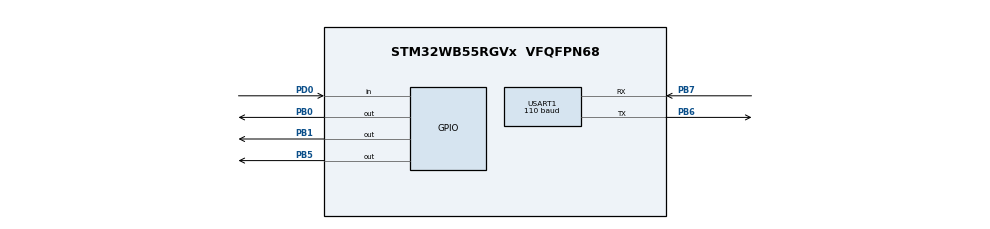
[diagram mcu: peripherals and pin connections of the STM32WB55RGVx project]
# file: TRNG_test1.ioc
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Mcu.Family=STM32WB
Mcu.Name=STM32WB55RGVx
Mcu.Package=VFQFPN68
NVIC.PriorityGroup=NVIC_PRIORITYGROUP_4
PB0.Signal=GPIO_Output
PB1.Signal=GPIO_Output
PB5.Signal=GPIO_Output
PB6.Mode=Asynchronous
PB6.Signal=USART1_TX
PB7.Mode=Asynchronous
PB7.Signal=USART1_RX
PD0.Signal=GPIO_Input
ProjectManager.HeapSize=0x200
ProjectManager.StackSize=0x400
ProjectManager.TargetToolchain=STM32CubeIDE
RCC.APB3Freq_Value=16000000
RCC.HSE_VALUE=8000000
RCC.HSI48_VALUE=48000000
RCC.HSI_VALUE=16000000
RCC.LSE_VALUE=32768
RCC.VCOOutputFreq_Value=32000000
USART1.BaudRate=110
USART1.VirtualMode-Asynchronous=VM_ASYNC
VP_MEMORYMAP_VS_MEMORYMAP.Mode=CurAppReg
VP_RNG_VS_RNG.Mode=RNG_Activate
board=custom

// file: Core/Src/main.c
/* USER CODE BEGIN Header */
/**
  ******************************************************************************
  * @file           : main.c
  * @brief          : Main program body
  *
  * Bu program STM32WB55RG üzerinde çalışır.
  *
  ******************************************************************************
  */
/* USER CODE END Header */

#include "main.h"

/* USER CODE BEGIN Includes */
#include "stm32wbxx_hal.h"
#include <stdio.h>
#include <stdint.h>
#include <stdbool.h>
#include <string.h>   // <-- EKLENDİ: strlen vb. için
/* USER CODE END Includes */

/* USER CODE BEGIN PD */
#define LED1_PIN        GPIO_PIN_5    /* PB5 */
#define LED2_PIN        GPIO_PIN_0    /* PB0 */
#define LED3_PIN        GPIO_PIN_1    /* PB1 */
#define LED_GPIO_PORT   GPIOB

#define BUTTON_PIN      GPIO_PIN_0    /* PD0 */
#define BUTTON_PORT     GPIOD
#define BUTTON_DEBOUNCE_MS 50U

#define MODE0_BLINK_MS      1000U
#define RNG_LED_ON_MS       50U
#define RNG_LED_OFF_MS      50U
#define RNG_POST_WAIT_MS    1000U
#define LED3_ON_MS          500U
#define LED3_TOGGLE_MS      200U
/* USER CODE END PD */

/* USER CODE BEGIN ET */
typedef enum
{
    M2_IDLE = 0,
    M2_LED3_ON,
    M2_BLINKING,
    M2_LED1_ON,
    M2_WAIT
} mode2_state_t;
/* USER CODE END ET */

RNG_HandleTypeDef hrng;
UART_HandleTypeDef huart1;

/* USER CODE BEGIN PV */
DMA_HandleTypeDef hdma_usart1_tx; // <-- EKLENDİ: DMA handle

volatile uint8_t mode = 0;           /* 0 = Mode0, 1 = Mode1 */
volatile uint8_t debugToggle = 0;
volatile int8_t debugForceMode = -1;

static uint8_t lastButtonReading = 1;
static uint8_t lastButtonStable = 1;
static uint32_t lastButtonChangeTime = 0;

static uint32_t m0_lastToggle = 0;
static uint8_t m0_ledState = 0;

static mode2_state_t m2_state = M2_IDLE;
static uint32_t m2_nextAction = 0;
static uint32_t m2_blinksRemain = 0;
static uint8_t m2_ledOn = 0;

static uint32_t m2_led3EndTime = 0; // LED3 kontrolü için
static uint32_t m2_modeChangeEndTime = 0; // mod değişimi sonrası LED3

static char uartMsg[128];
/* USER CODE END PV */

void SystemClock_Config(void);
static void MX_GPIO_Init(void);
static void MX_RNG_Init(void);
static void MX_USART1_UART_Init(void);

/* USER CODE BEGIN PFP */
static void MX_DMA_Init(void); // <-- EKLENDİ: prototype
static inline uint32_t now_ms(void);
static bool button_pressed_event(void);
static void mode2_reset_state(void);
static void toggle_mode(void);
static void force_set_mode(uint8_t m);
/* USER CODE END PFP */

/* USER CODE BEGIN 0 */
static inline uint32_t now_ms(void)
{
    return HAL_GetTick();
}

static bool button_pressed_event(void)
{
    uint32_t t = now_ms();
    uint8_t reading = (uint8_t)HAL_GPIO_ReadPin(BUTTON_PORT, BUTTON_PIN);

    if(reading != lastButtonReading)
    {
        lastButtonReading = reading;
        lastButtonChangeTime = t;
    }

    if((t - lastButtonChangeTime) > BUTTON_DEBOUNCE_MS)
    {
        if(lastButtonStable != lastButtonReading)
        {
            lastButtonStable = lastButtonReading;
            if(lastButtonStable == GPIO_PIN_RESET)
                return true;
        }
    }
    return false;
}

static void mode2_reset_state(void)
{
    m2_state = M2_IDLE;
    m2_nextAction = 0;
    m2_blinksRemain = 0;
    m2_ledOn = 0;
    m2_led3EndTime = 0;

    HAL_GPIO_WritePin(LED_GPIO_PORT, LED2_PIN | LED1_PIN | LED3_PIN, GPIO_PIN_RESET);
}

/* Helper: güvenli DMA ile gönder (eğer DMA meşgulse blocking fallback uygula) */
static void uart_send_dma_safe(const char *s, int len)
{
    if (len <= 0) return;
    uint16_t ulen = (uint16_t)len;
    /* Eğer UART hazırsa DMA ile gönder */
    if (HAL_UART_GetState(&huart1) == HAL_UART_STATE_READY)
    {
        if (HAL_UART_Transmit_DMA(&huart1, (uint8_t*)s, ulen) != HAL_OK)
        {
            /* Eğer DMA başlatılamadıysa kısa blocking fallback */
            HAL_UART_Transmit(&huart1, (uint8_t*)s, ulen, 100);
        }
    }
    else
    {
        /* DMA meşgulse küçük timeout ile blocking gönder */
        HAL_UART_Transmit(&huart1, (uint8_t*)s, ulen, 100);
    }
}

static void toggle_mode(void)
{
    mode ^= 1u; // Toggle 0 <-> 1
    mode2_reset_state();
    m0_lastToggle = now_ms();
    m0_ledState = 0;
    HAL_GPIO_WritePin(LED_GPIO_PORT, LED2_PIN, GPIO_PIN_RESET);

    // LED3 mod değişiminde yanıp sönsün
    HAL_GPIO_WritePin(LED_GPIO_PORT, LED3_PIN, GPIO_PIN_SET);
    m2_modeChangeEndTime = now_ms() + LED3_ON_MS;

    int len = snprintf(uartMsg, sizeof(uartMsg), "Mode toggled -> %u\r\n", (unsigned)mode);
    if(len>0) uart_send_dma_safe(uartMsg, len); // <-- DEGİŞTİ: DMA güvenli gönderim kullan
}

static void force_set_mode(uint8_t m)
{
    if(m > 1) return;
    mode = m;
    mode2_reset_state();
    m0_lastToggle = now_ms();
    m0_ledState = 0;
    HAL_GPIO_WritePin(LED_GPIO_PORT, LED2_PIN, GPIO_PIN_RESET);

    // LED3 mod değişiminde yanıp sönsün
    HAL_GPIO_WritePin(LED_GPIO_PORT, LED3_PIN, GPIO_PIN_SET);
    m2_modeChangeEndTime = now_ms() + LED3_ON_MS;

    int len = snprintf(uartMsg, sizeof(uartMsg), "Mode forced -> %u\r\n", (unsigned)mode);
    if(len>0) uart_send_dma_safe(uartMsg, len); // <-- DEGİŞTİ
}
/* USER CODE END 0 */

int main(void)
{
    HAL_Init();
    SystemClock_Config();

    MX_GPIO_Init();

    MX_DMA_Init();            // <-- EKLENDİ: DMA ilk başlatılıyor (UART init'den önce çağrılması tavsiye edilir)
    MX_RNG_Init();
    MX_USART1_UART_Init();

    while(1)
    {
        if(button_pressed_event() || debugToggle)
        {
            toggle_mode();
            debugToggle = 0;
        }

        if(debugForceMode != -1)
        {
            force_set_mode((uint8_t)debugForceMode);
            debugForceMode = -1;
        }

        uint32_t t = now_ms();

        // Mod değişimi LED3 kontrolü
        if(m2_modeChangeEndTime && t >= m2_modeChangeEndTime)
        {
            HAL_GPIO_WritePin(LED_GPIO_PORT, LED3_PIN, GPIO_PIN_RESET);
            m2_modeChangeEndTime = 0;
        }

        if(mode == 0) // Mode 0: LED2 yanıp söner
        {
            if(t - m0_lastToggle >= MODE0_BLINK_MS)
            {
                m0_lastToggle = t;
                m0_ledState ^= 1;
                HAL_GPIO_WritePin(LED_GPIO_PORT, LED2_PIN, m0_ledState?GPIO_PIN_SET:GPIO_PIN_RESET);
            }
        }
        else // Mode 1: RNG blink
        {
            switch(m2_state)
            {
                case M2_IDLE:
                {
                    // LED3 Mode 1 başında yanacak
                    HAL_GPIO_WritePin(LED_GPIO_PORT, LED3_PIN, GPIO_PIN_SET);
                    m2_led3EndTime = t + LED3_ON_MS;
                    m2_state = M2_LED3_ON;
                }
                break;

                case M2_LED3_ON:
                    if(t >= m2_led3EndTime)
                    {
                        HAL_GPIO_WritePin(LED_GPIO_PORT, LED3_PIN, GPIO_PIN_RESET);
                        uint32_t rnd;
                        if(HAL_RNG_GenerateRandomNumber(&hrng, &rnd) != HAL_OK)
                        {
                            HAL_GPIO_WritePin(LED_GPIO_PORT, LED3_PIN, GPIO_PIN_SET);
                            m2_led3EndTime = t + LED3_ON_MS;
                            break;
                        }
                        m2_blinksRemain = (rnd % 10) + 1;
                        m2_state = M2_BLINKING;
                        m2_ledOn = 0;
                        m2_nextAction = t;

                        int len = snprintf(uartMsg, sizeof(uartMsg), "Random Number: %lu, LED2 blinks: %lu\r\n",
                                 rnd, m2_blinksRemain);
                        if(len > 0) uart_send_dma_safe(uartMsg, len); // <-- DEGİŞTİ: DMA güvenli gönderim
                    }
                    break;

                case M2_BLINKING:
                    if(t >= m2_nextAction)
                    {
                        m2_ledOn ^= 1;
                        HAL_GPIO_WritePin(LED_GPIO_PORT, LED2_PIN, m2_ledOn?GPIO_PIN_SET:GPIO_PIN_RESET);
                        if(!m2_ledOn)
                        {
                            m2_blinksRemain--;
                            if(m2_blinksRemain == 0)
                            {
                                m2_state = M2_LED1_ON;
                                m2_nextAction = t + RNG_POST_WAIT_MS;
                                HAL_GPIO_WritePin(LED_GPIO_PORT, LED1_PIN, GPIO_PIN_SET);
                                break;
                            }
                        }
                        m2_nextAction = t + (m2_ledOn?RNG_LED_ON_MS:RNG_LED_OFF_MS);
                    }
                    break;

                case M2_LED1_ON:
                    if(t >= m2_nextAction)
                    {
                        HAL_GPIO_WritePin(LED_GPIO_PORT, LED1_PIN, GPIO_PIN_RESET);
                        m2_state = M2_WAIT;
                        m2_nextAction = t + RNG_POST_WAIT_MS;
                    }
                    break;

                case M2_WAIT:
                    if(t >= m2_nextAction)
                        m2_state = M2_IDLE;
                    break;
            }
        }
    }
}

/* GPIO Initialization Function */
static void MX_GPIO_Init(void)
{
    GPIO_InitTypeDef GPIO_InitStruct = {0};

    /* GPIO port clock enable */
    __HAL_RCC_GPIOB_CLK_ENABLE();
    __HAL_RCC_GPIOD_CLK_ENABLE();

    /* LED pins */
    GPIO_InitStruct.Pin = LED1_PIN|LED2_PIN|LED3_PIN;
    GPIO_InitStruct.Mode = GPIO_MODE_OUTPUT_PP;
    GPIO_InitStruct.Pull = GPIO_NOPULL;
    GPIO_InitStruct.Speed = GPIO_SPEED_FREQ_LOW;
    HAL_GPIO_Init(LED_GPIO_PORT, &GPIO_InitStruct);

    /* Button pin */
    GPIO_InitStruct.Pin = BUTTON_PIN;
    GPIO_InitStruct.Mode = GPIO_MODE_INPUT;
    GPIO_InitStruct.Pull = GPIO_PULLUP; // <-- Pull-up ekledik
    HAL_GPIO_Init(BUTTON_PORT, &GPIO_InitStruct);

    /* UART1 pins PB6/PB7 alternate function setup */
    GPIO_InitStruct.Pin = GPIO_PIN_6|GPIO_PIN_7;
    GPIO_InitStruct.Mode = GPIO_MODE_AF_PP;
    GPIO_InitStruct.Pull = GPIO_NOPULL;
    GPIO_InitStruct.Speed = GPIO_SPEED_FREQ_VERY_HIGH;
    GPIO_InitStruct.Alternate = GPIO_AF7_USART1;
    HAL_GPIO_Init(GPIOB, &GPIO_InitStruct);
}

/* RNG Initialization Function */
static void MX_RNG_Init(void)
{
    hrng.Instance = RNG;
    hrng.Init.ClockErrorDetection = RNG_CED_ENABLE;
    if(HAL_RNG_Init(&hrng) != HAL_OK)
    {
        Error_Handler();
    }
}

/* DMA Initialization Function (USART1 TX) */
static void MX_DMA_Init(void)
{
    /* Enable clocks for DMAMUX + DMA controller */
#ifdef __HAL_RCC_DMAMUX1_CLK_ENABLE
    __HAL_RCC_DMAMUX1_CLK_ENABLE();
#endif
    __HAL_RCC_DMA1_CLK_ENABLE();

    /* Configure the DMA handle for USART1_TX */
    hdma_usart1_tx.Instance = DMA1_Channel4; // <-- yaygın seçim; MCU'na göre farklı olabilir
#ifdef DMA_REQUEST_USART1_TX
    hdma_usart1_tx.Init.Request = DMA_REQUEST_USART1_TX; // DMAMUX request (bazı HAL'larda mevcut)
#endif
    hdma_usart1_tx.Init.Direction = DMA_MEMORY_TO_PERIPH;
    hdma_usart1_tx.Init.PeriphInc = DMA_PINC_DISABLE;
    hdma_usart1_tx.Init.MemInc = DMA_MINC_ENABLE;
    hdma_usart1_tx.Init.PeriphDataAlignment = DMA_PDATAALIGN_BYTE;
    hdma_usart1_tx.Init.MemDataAlignment = DMA_MDATAALIGN_BYTE;
    hdma_usart1_tx.Init.Mode = DMA_NORMAL;
    hdma_usart1_tx.Init.Priority = DMA_PRIORITY_LOW;

    if (HAL_DMA_Init(&hdma_usart1_tx) != HAL_OK)
    {
        Error_Handler();
    }

    /* Link DMA handle to UART handle */
    __HAL_LINKDMA(&huart1, hdmatx, hdma_usart1_tx);

    /* Enable and set DMA IRQ to a lower priority */
    HAL_NVIC_SetPriority(DMA1_Channel4_IRQn, 5, 0);
    HAL_NVIC_EnableIRQ(DMA1_Channel4_IRQn);
}

/* USART1 Initialization Function */
static void MX_USART1_UART_Init(void)
{
    huart1.Instance = USART1;
    huart1.Init.BaudRate = 1200;
    huart1.Init.WordLength = UART_WORDLENGTH_8B;
    huart1.Init.StopBits = UART_STOPBITS_1;
    huart1.Init.Parity = UART_PARITY_NONE;
    huart1.Init.Mode = UART_MODE_TX_RX;
    huart1.Init.HwFlowCtl = UART_HWCONTROL_NONE;
    huart1.Init.OverSampling = UART_OVERSAMPLING_16;
    if(HAL_UART_Init(&huart1) != HAL_OK)
    {
        Error_Handler();
    }
}

/* DMA IRQ Handler (örnek) */
void DMA1_Channel4_IRQHandler(void)
{
    HAL_DMA_IRQHandler(&hdma_usart1_tx);
}

/* UART TX tamamlandığında çağrılan callback (isteğe göre işaretleme yap) */
void HAL_UART_TxCpltCallback(UART_HandleTypeDef *huart)
{
    if (huart->Instance == USART1)
    {
        /* Burada istersen bir flag set edebilirsin; demo için boş bırakıyorum */
    }
}

void SystemClock_Config(void)
{
    /* (Mevcut SystemClock_Config()'unu aynen kullan) */
    RCC_OscInitTypeDef RCC_OscInitStruct = {0};
    RCC_ClkInitTypeDef RCC_ClkInitStruct = {0};

    __HAL_PWR_VOLTAGESCALING_CONFIG(PWR_REGULATOR_VOLTAGE_SCALE1);

    RCC_OscInitStruct.OscillatorType = RCC_OSCILLATORTYPE_HSI | RCC_OSCILLATORTYPE_LSI1 | RCC_OSCILLATORTYPE_MSI;
    RCC_OscInitStruct.HSIState = RCC_HSI_ON;
    RCC_OscInitStruct.MSIState = RCC_MSI_ON;
    RCC_OscInitStruct.HSICalibrationValue = RCC_HSICALIBRATION_DEFAULT;
    RCC_OscInitStruct.MSICalibrationValue = RCC_MSICALIBRATION_DEFAULT;
    RCC_OscInitStruct.MSIClockRange = RCC_MSIRANGE_6;
    RCC_OscInitStruct.LSIState = RCC_LSI_ON;
    RCC_OscInitStruct.PLL.PLLState = RCC_PLL_NONE;
    if(HAL_RCC_OscConfig(&RCC_OscInitStruct) != HAL_OK) Error_Handler();

    RCC_ClkInitStruct.ClockType = RCC_CLOCKTYPE_HCLK | RCC_CLOCKTYPE_SYSCLK |
                                  RCC_CLOCKTYPE_PCLK1 | RCC_CLOCKTYPE_PCLK2 |
                                  RCC_CLOCKTYPE_HCLK2 | RCC_CLOCKTYPE_HCLK4;
    RCC_ClkInitStruct.SYSCLKSource = RCC_SYSCLKSOURCE_MSI;
    RCC_ClkInitStruct.AHBCLKDivider = RCC_SYSCLK_DIV1;
    RCC_ClkInitStruct.APB1CLKDivider = RCC_HCLK_DIV1;
    RCC_ClkInitStruct.APB2CLKDivider = RCC_HCLK_DIV1;
    RCC_ClkInitStruct.AHBCLK2Divider = RCC_SYSCLK_DIV1;
    RCC_ClkInitStruct.AHBCLK4Divider = RCC_SYSCLK_DIV1;
    if(HAL_RCC_ClockConfig(&RCC_ClkInitStruct, FLASH_LATENCY_0) != HAL_OK) Error_Handler();
}

/* Error Handler */
void Error_Handler(void)
{
    __disable_irq();
    while(1) {}
}
